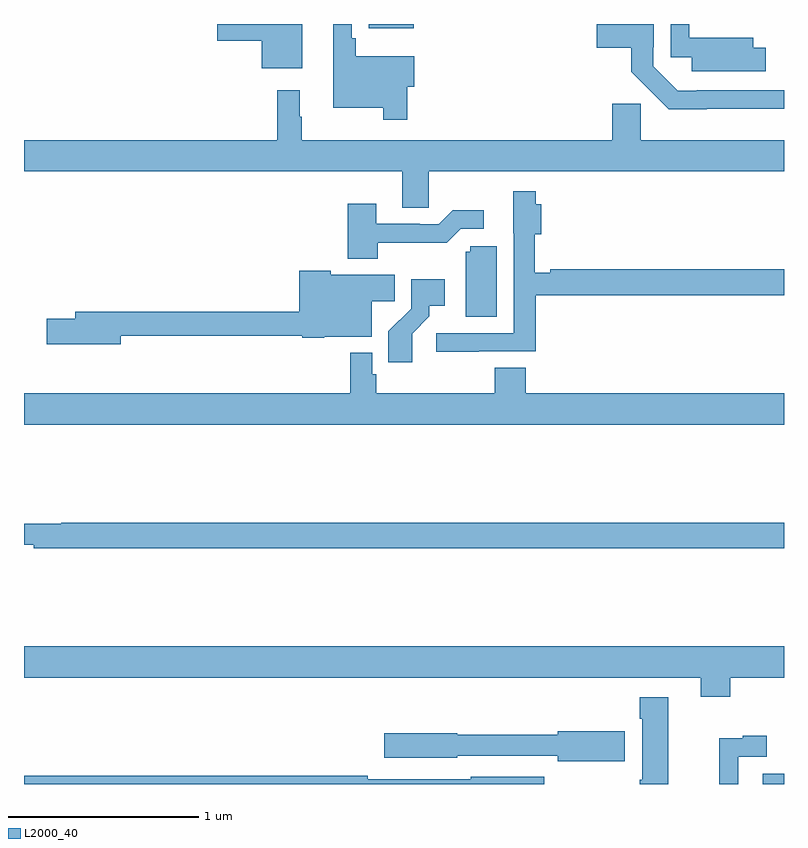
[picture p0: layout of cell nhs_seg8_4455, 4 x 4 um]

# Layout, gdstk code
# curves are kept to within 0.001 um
import gdstk
lib = gdstk.Library(unit=1e-6, precision=1e-09)
def R(c, l, rs):  # rectangles x0, y0, x1, y1
    for r in rs: c.add(gdstk.rectangle(r[:2], r[2:], *l))
def P(c, l, *ps):  # polygons
    for p in ps: c.add(gdstk.Polygon(p, *l))
L2000_40 = (2000, 40)

nhs_seg8_4455 = lib.new_cell('nhs_seg8_4455')
R(nhs_seg8_4455, L2000_40, [(384.887,1155.9,385,1155.955), (382.814,1159.877,383.05,1159.9)])
P(nhs_seg8_4455, L2000_40, [(384.593,1159.454),(385,1159.454),(385,1159.551),(384.541,1159.551),(384.541,1159.548),(384.441,1159.548),(384.312,1159.677),(384.312,1159.777),(384.315,1159.777),(384.315,1159.9),(384.014,1159.9),(384.014,1159.775),(384.197,1159.775),(384.197,1159.649),(384.394,1159.452),(384.593,1159.452)],
  [(383.018,1159.571),(383.053,1159.571),(383.053,1159.729),(382.745,1159.729),(382.745,1159.825),(382.725,1159.825),(382.725,1159.9),(382.628,1159.9),(382.628,1159.46),(382.89,1159.46),(382.89,1159.395),(383.018,1159.395)],
  [(384.904,1159.774),(384.838,1159.774),(384.838,1159.828),(384.501,1159.828),(384.501,1159.9),(384.405,1159.9),(384.405,1159.725),(384.515,1159.725),(384.515,1159.652),(384.904,1159.652)],
  [(382.465,1159.9),(382.016,1159.9),(382.016,1159.811),(382.25,1159.811),(382.25,1159.667),(382.465,1159.667)],
  [(383.13,1159.124),(385,1159.124),(385,1159.288),(384.245,1159.288),(384.245,1159.479),(384.095,1159.479),(384.095,1159.288),(382.462,1159.288),(382.462,1159.412),(382.45,1159.412),(382.45,1159.552),(382.333,1159.552),(382.333,1159.288),(381,1159.288),(381,1159.124),(382.991,1159.124),(382.991,1158.934),(383.13,1158.934)],
  [(383.393,1158.177),(383.693,1158.177),(383.693,1158.472),(385,1158.472),(385,1158.608),(383.77,1158.608),(383.77,1158.59),(383.689,1158.59),(383.689,1158.794),(383.723,1158.794),(383.723,1158.952),(383.693,1158.952),(383.693,1159.021),(383.576,1159.021),(383.576,1158.798),(383.577,1158.798),(383.577,1158.273),(383.169,1158.273),(383.169,1158.175),(383.393,1158.175)],
  [(382.863,1158.75),(383.225,1158.749),(383.298,1158.822),(383.419,1158.822),(383.419,1158.919),(383.257,1158.919),(383.184,1158.846),(383.084,1158.846),(383.084,1158.849),(382.855,1158.849),(382.855,1158.955),(382.703,1158.955),(382.703,1158.665),(382.863,1158.665)],
  [(383.488,1158.729),(383.349,1158.729),(383.349,1158.702),(383.324,1158.702),(383.324,1158.358),(383.488,1158.358)],
  [(381.508,1158.258),(382.464,1158.258),(382.464,1158.25),(382.581,1158.25),(382.581,1158.254),(382.831,1158.254),(382.831,1158.442),(382.952,1158.442),(382.952,1158.58),(382.614,1158.58),(382.614,1158.601),(382.448,1158.601),(382.448,1158.386),(381.269,1158.386),(381.269,1158.35),(381.12,1158.35),(381.12,1158.215),(381.508,1158.215)],
  [(383.044,1158.271),(383.134,1158.361),(383.134,1158.416),(383.215,1158.416),(383.215,1158.556),(383.037,1158.556),(383.037,1158.401),(382.918,1158.282),(382.918,1158.12),(383.044,1158.12)],
  [(385,1157.956),(383.642,1157.956),(383.642,1158.092),(383.477,1158.092),(383.477,1157.956),(382.853,1157.956),(382.853,1158.057),(382.833,1158.057),(382.833,1158.169),(382.717,1158.169),(382.717,1157.956),(381,1157.956),(381,1157.792),(385,1157.792)],
  [(385,1157.276),(381.197,1157.276),(381.197,1157.269),(381,1157.269),(381,1157.159),(381.052,1157.159),(381.052,1157.14),(385,1157.14)],
  [(384.716,1156.46),(385,1156.46),(385,1156.624),(381,1156.624),(381,1156.46),(384.563,1156.46),(384.563,1156.358),(384.716,1156.358)],
  [(384.391,1156.357),(384.242,1156.357),(384.242,1156.244),(384.254,1156.244),(384.254,1155.923),(384.242,1155.923),(384.242,1155.9),(384.391,1155.9)],
  [(384.163,1156.177),(383.81,1156.177),(383.81,1156.159),(383.28,1156.159),(383.28,1156.167),(382.896,1156.167),(382.896,1156.037),(383.28,1156.037),(383.28,1156.05),(383.81,1156.05),(383.81,1156.019),(384.163,1156.019)],
  [(384.759,1156.044),(384.91,1156.044),(384.91,1156.153),(384.782,1156.153),(384.782,1156.142),(384.658,1156.142),(384.658,1155.9),(384.759,1155.9)],
  [(383.737,1155.937),(383.352,1155.937),(383.352,1155.924),(382.808,1155.924),(382.808,1155.944),(381,1155.944),(381,1155.9),(383.737,1155.9)])

lib.write_gds('nhs_seg8_4455.gds')
